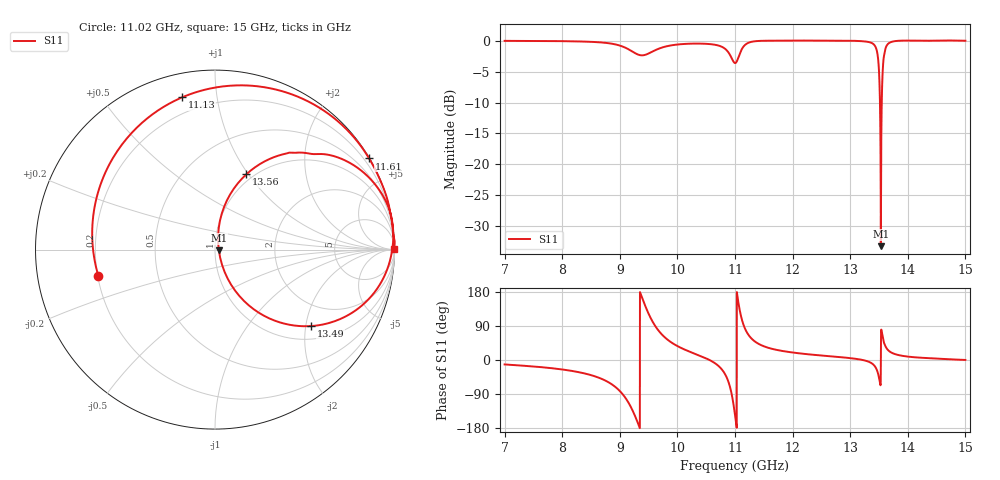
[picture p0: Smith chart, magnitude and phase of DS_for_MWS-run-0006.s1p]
! TOUCHSTONE file generated by CST DESIGN STUDIO
! Date and time: Mon Feb 10 16:44:11 2025
! Project name: C:\Work\MatlabApps\UnitCellType2OptimizationMatlab\CST\unitcell.cst
! Tree item: Tasks\Sweep1\SPara1\S-Parameters
! Header version: 2024
! Port assignment regex: !\s*Touchstone port\s*([0-9]+)\s*=\s*(CST MWS port|CST DES external port|CST DES block port)\s*(.+)\s* \(\"(.*)\"\)(\s*mode\s*([0-9]+))?.*
! Touchstone port assignment:
! Touchstone port 1 = CST DES external port 1 ("")
# GHz S MA R 50
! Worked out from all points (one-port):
!   4001 points, 7 GHz to 15 GHz, reference 50 ohm
!   lowest |S11| = -33.2 dB at 13.53 GHz (marker M1), VSWR 1.04, Z = 52.2 - j0.447 ohm
!   |S11| at or under -10 dB: 13.51667 GHz to 13.54785 GHz (31.17 MHz wide, 0.23 % of centre)
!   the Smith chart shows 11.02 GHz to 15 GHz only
!   S11 on the Smith chart (normalised r, x): 11.02 GHz: 0.20, -0.11; 11.13 GHz: 0.12, +0.80; 11.61 GHz: 0.02, +3.65; 13.49 GHz: 1.34, -2.15; 13.56 GHz: 0.93, +0.98; 15 GHz: open
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7  0.9947 -11.7
8  0.9892 -25.0
8.636  0.9689 -46.7
9  0.9113 -81.9
9.186  0.8323 -122.3
9.362  0.7611 174.4
9.482  0.7796 128.1
9.594  0.8271 94.8
10  0.9291 36.8
10.744  0.9017 -20.2
10.844  0.8453 -42.2
10.92  0.7557 -75.1
11  0.6581 -144.7
11.02  0.6661 -167.4
11.064  0.7421 146.8
11.128  0.868 102.1
11.3  0.9799 54.6
11.614  0.9975 30.6
12  0.9996 19.8
13  0.9973 5.0
13.384  0.9505 -9.8
13.488  0.685 -38.4
13.532  0.02189 -11.3
13.556  0.454 67.4
13.596  0.7965 42.0
13.674  0.9548 23.8
14  0.9996 9.0
15  0.9968 0.2
